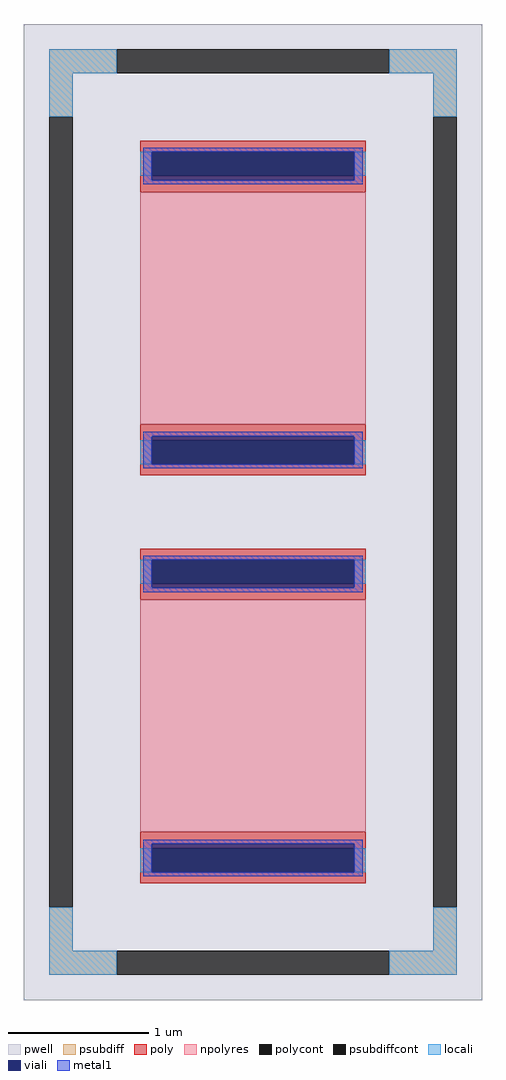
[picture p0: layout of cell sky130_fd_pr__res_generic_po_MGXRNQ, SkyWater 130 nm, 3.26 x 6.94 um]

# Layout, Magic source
magic
tech sky130B
magscale 1 2
<< pwell >>
rect -326 -694 326 694
<< psubdiff >>
rect -290 624 -194 658
rect 194 624 290 658
rect -290 562 -256 624
rect 256 562 290 624
rect -290 -624 -256 -562
rect 256 -624 290 -562
rect -290 -658 -194 -624
rect 194 -658 290 -624
<< psubdiffcont >>
rect -194 624 194 658
rect -290 -562 -256 562
rect 256 -562 290 562
rect -194 -658 194 -624
<< poly >>
rect -160 512 160 528
rect -160 478 -144 512
rect 144 478 160 512
rect -160 455 160 478
rect -160 102 160 125
rect -160 68 -144 102
rect 144 68 160 102
rect -160 52 160 68
rect -160 -68 160 -52
rect -160 -102 -144 -68
rect 144 -102 160 -68
rect -160 -125 160 -102
rect -160 -478 160 -455
rect -160 -512 -144 -478
rect 144 -512 160 -478
rect -160 -528 160 -512
<< polycont >>
rect -144 478 144 512
rect -144 68 144 102
rect -144 -102 144 -68
rect -144 -512 144 -478
<< npolyres >>
rect -160 125 160 455
rect -160 -455 160 -125
<< locali >>
rect -290 624 -194 658
rect 194 624 290 658
rect -290 562 -256 624
rect 256 562 290 624
rect -160 478 -144 512
rect 144 478 160 512
rect -160 68 -144 102
rect 144 68 160 102
rect -160 -102 -144 -68
rect 144 -102 160 -68
rect -160 -512 -144 -478
rect 144 -512 160 -478
rect -290 -624 -256 -562
rect 256 -624 290 -562
rect -290 -658 -194 -624
rect 194 -658 290 -624
<< viali >>
rect -144 478 144 512
rect -144 472 144 478
rect -144 102 144 108
rect -144 68 144 102
rect -144 -102 144 -68
rect -144 -108 144 -102
rect -144 -478 144 -472
rect -144 -512 144 -478
<< metal1 >>
rect -156 512 156 518
rect -156 472 -144 512
rect 144 472 156 512
rect -156 466 156 472
rect -156 108 156 114
rect -156 68 -144 108
rect 144 68 156 108
rect -156 62 156 68
rect -156 -68 156 -62
rect -156 -108 -144 -68
rect 144 -108 156 -68
rect -156 -114 156 -108
rect -156 -472 156 -466
rect -156 -512 -144 -472
rect 144 -512 156 -472
rect -156 -518 156 -512
<< properties >>
string FIXED_BBOX -273 -641 273 641
string gencell sky130_fd_pr__res_generic_po
string library sky130
string parameters w 1.6 l 1.650 m 2 nx 1 wmin 0.330 lmin 1.650 rho 48.2 val 49.706 dummy 0 dw 0.0 term 0.0 sterm 0.0 caplen 0.4 snake 0 guard 1 glc 1 grc 1 gtc 1 gbc 1 roverlap 0 endcov 100 full_metal 1 hv_guard 0 n_guard 0 vias 1 viagb 0 viagt 0 viagl 0 viagr 0
<< end >>
